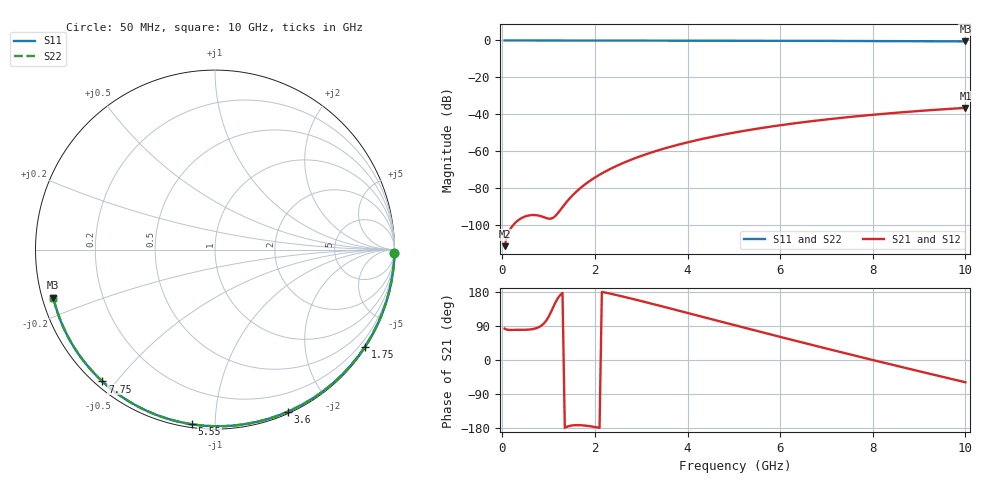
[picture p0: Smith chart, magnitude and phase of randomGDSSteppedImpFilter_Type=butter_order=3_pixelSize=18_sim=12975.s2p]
! freq	dB(S11)	phase(S11)	dB(S12)	phase(S12)
!  dB(S21)	phase(S21)	dB(S22)	phase(S22)
!S-par simulation data
#  GHz  S  DB  R 50
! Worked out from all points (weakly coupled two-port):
!   200 points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, 50 MHz to 10 GHz, reference 50 ohm
!   highest |S21| = -36.47 dB at 10 GHz (marker M1); lowest = -111.3 dB at 50 MHz (marker M2)
!   lowest |S11| = -0.5 dB at 10 GHz (marker M3), VSWR 32.27, Z = 1.58 - j7.27 ohm
!   |S11| at or under -10 dB: nowhere
!   |S22| runs from -0.5 to 0.0 dB; largest |S21 - S12| = 0
!   S11 on the Smith chart (normalised r, x): 50 MHz: open; 1.75 GHz: 0.03, -3.38; 3.6 GHz: 0.02, -1.55; 5.55 GHz: 0.02, -0.88; 7.75 GHz: 0.02, -0.46; 10 GHz: 0.03, -0.15
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0.05  -0.00 -1.0  -111.28 82.9  -111.28 82.9  -0.00 -1.0
0.45  -0.01 -8.6  -95.66 79.6  -95.66 79.6  -0.01 -8.6
0.85  -0.02 -16.2  -95.18 91.2  -95.18 91.2  -0.02 -16.2
1.65  -0.04 -31.1  -80.63 -171.9  -80.63 -171.9  -0.04 -31.1
1.7  -0.04 -32.0  -79.56 -172.2  -79.56 -172.2  -0.04 -32.0
1.75  -0.04 -32.9  -78.55 -172.6  -78.55 -172.6  -0.04 -32.9
1.9  -0.05 -35.7  -75.80 -174.8  -75.80 -174.8  -0.05 -35.7
2.05  -0.05 -38.4  -73.38 -177.9  -73.38 -177.9  -0.05 -38.4
2.25  -0.05 -42.0  -70.55 177.3  -70.55 177.3  -0.05 -42.0
2.45  -0.06 -45.6  -68.06 171.9  -68.06 171.9  -0.06 -45.6
2.9  -0.07 -53.6  -63.37 158.6  -63.37 158.6  -0.07 -53.6
3.4  -0.08 -62.3  -59.19 143.2  -59.19 143.2  -0.08 -62.3
3.6  -0.09 -65.7  -57.73 136.9  -57.73 136.9  -0.09 -65.8
4.3  -0.11 -77.5  -53.37 114.6  -53.37 114.6  -0.11 -77.5
5.05  -0.14 -89.6  -49.64 90.8  -49.64 90.8  -0.14 -89.6
5.55  -0.16 -97.5  -47.55 75.1  -47.55 75.1  -0.16 -97.5
6.1  -0.19 -105.9  -45.53 57.9  -45.53 57.9  -0.19 -106.0
6.7  -0.22 -115.0  -43.60 39.3  -43.60 39.3  -0.22 -115.0
7.75  -0.30 -130.5  -40.79 7.5  -40.79 7.5  -0.30 -130.5
8.35  -0.35 -139.2  -39.44 -10.5  -39.44 -10.5  -0.35 -139.2
9.2  -0.44 -151.6  -37.78 -35.5  -37.78 -35.5  -0.44 -151.6
10  -0.54 -163.4  -36.47 -58.8  -36.47 -58.8  -0.54 -163.4
